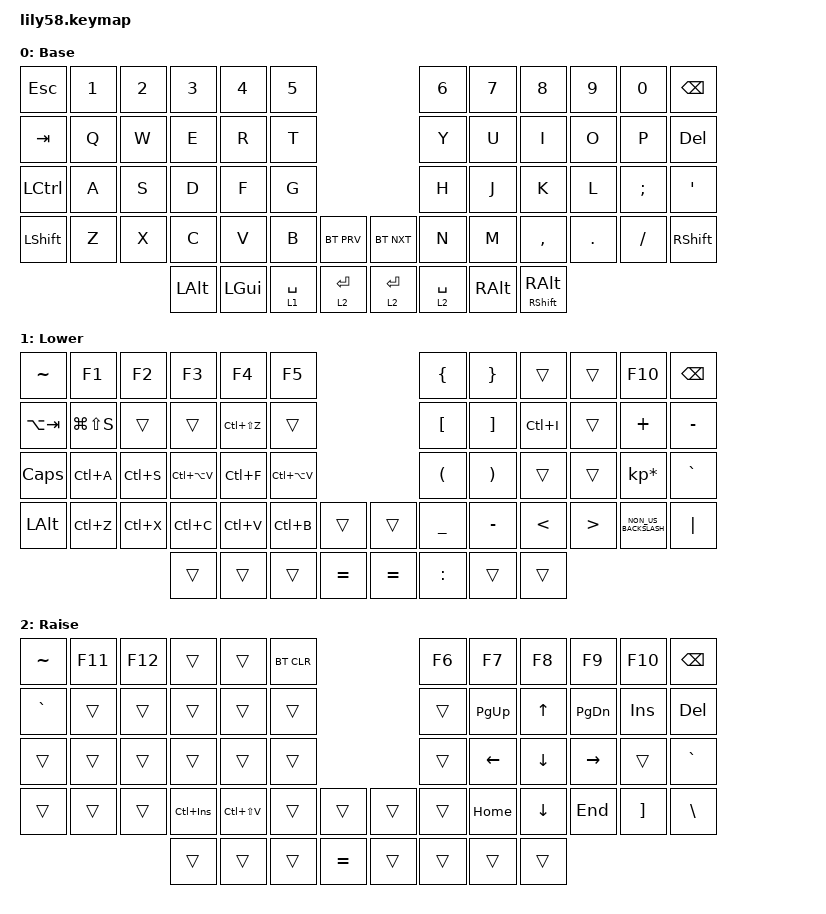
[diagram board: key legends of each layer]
/*
 * Copyright (c) 2020 The ZMK Contributors
 *
 * SPDX-License-Identifier: MIT
 */

#include <behaviors.dtsi>
#include <dt-bindings/zmk/bt.h>
#include <dt-bindings/zmk/keys.h>

/ {
    keymap {
        compatible = "zmk,keymap";

        default_layer {
            // ------------------------------------------------------------------------------------------------------------
            // |  ESC  |  1  |  2  |  3   |  4   |  5   |                   |  6   |  7    |  8    |  9   |   0   |   `   |
            // |  TAB  |  Q  |  W  |  E   |  R   |  T   |                   |  Y   |  U    |  I    |  O   |   P   |   -   |
            // |  CTRL |  A  |  S  |  D   |  F   |  G   |                   |  H   |  J    |  K    |  L   |   ;   |   '   |
            // | SHIFT |  Z  |  X  |  C   |  V   |  B   |   "["  |  |  "]"  |  N   |  M    |  ,    |  .   |   /   | SHIFT |
            //                     | ALT  | GUI  | LOWER|  SPACE |  | ENTER | RAISE| BSPC  | GUI   |

            label = "Base";
            bindings = <
&kp ESC    &kp N1  &kp N2  &kp N3    &kp N4    &kp N5                                   &kp N6       &kp N7    &kp N8           &kp N9   &kp N0    &kp BACKSPACE
&kp TAB    &kp Q   &kp W   &kp E     &kp R     &kp T                                    &kp Y        &kp U     &kp I            &kp O    &kp P     &kp DELETE
&kp LCTRL  &kp A   &kp S   &kp D     &kp F     &kp G                                    &kp H        &kp J     &kp K            &kp L    &kp SEMI  &kp SQT
&kp LSHFT  &kp Z   &kp X   &kp C     &kp V     &kp B        &bt BT_PRV     &bt BT_NXT   &kp N        &kp M     &kp COMMA        &kp DOT  &kp FSLH  &kp RSHFT
                           &kp LALT  &kp LGUI  &lt 1 SPACE  &lt 2 ENTER    &lt 2 ENTER  &lt 2 SPACE  &kp RALT  &mt RSHIFT RALT
            >;
        };

        lower_layer {
            // ------------------------------------------------------------------------------------------------------------
            // | BTCLR | BT1 | BT2 |  BT3 |  BT4 |  BT5 |                   |      |       |       |      |       |       |
            // |  F1   |  F2 |  F3 |  F4  |  F5  |  F6  |                   |  F7  |  F8   |  F9   |  F10 |  F11  |  F12  |
            // |   `   |  !  |  @  |  #   |  $   |  %   |                   |  ^   |  &    |  *    |  (   |   )   |   ~   |
            // |       |     |     |      |      |      |        |  |       |      |  _    |  +    |  {   |   }   |  "|"  |
            //                     |      |      |      |        |  |       |      |       |       |

            label = "Lower";
            bindings = <
&kp TILDE     &kp F1         &kp F2     &kp F3         &kp F4         &kp F5                                 &kp LEFT_BRACE        &kp RIGHT_BRACE        &trans         &trans            &kp F10               &kp BACKSPACE
&kp LA(TAB)   &kp LG(LS(S))  &trans     &trans         &kp LC(LS(Z))  &trans                                 &kp LEFT_BRACKET      &kp RIGHT_BRACKET      &kp LC(I)      &trans            &kp PLUS              &kp MINUS
&kp CAPS      &kp LC(A)      &kp LC(S)  &kp LC(LA(V))  &kp LC(F)      &kp LC(LA(V))                          &kp LEFT_PARENTHESIS  &kp RIGHT_PARENTHESIS  &trans         &trans            &kp KP_MULTIPLY       &kp GRAVE
&kp LEFT_ALT  &kp LC(Z)      &kp LC(X)  &kp LC(C)      &kp LC(V)      &kp LC(B)      &trans       &trans     &kp UNDERSCORE        &kp MINUS              &kp LESS_THAN  &kp GREATER_THAN  &kp NON_US_BACKSLASH  &kp PIPE
                                        &trans         &trans         &trans         &kp EQUAL    &kp EQUAL  &kp COLON             &trans                 &trans
            >;
        };

        raise_layer {
            // ------------------------------------------------------------------------------------------------------------
            // |       |     |     |      |      |      |                   |      |       |       |      |       |       |
            // |   `   |  1  |  2  |  3   |  4   |  5   |                   |  6   |   7   |   8   |  9   |   0   |       |
            // |   F1  |  F2 |  F3 |  F4  |  F5  |  F6  |                   |      |   <-  |   v   |  ^   |  ->   |       |
            // |   F7  |  F8 |  F9 |  F10 |  F11 |  F12 |        |  |       |  +   |   -   |   =   |  [   |   ]   |   \   |
            //                     |      |      |      |        |  |       |      |       |       |

            label = "Raise";
            bindings = <
&kp TILDE  &kp F11  &kp F12  &trans       &trans         &bt BT_CLR                       &kp F6  &kp F7       &kp F8          &kp F9           &kp F10     &kp BACKSPACE
&kp GRAVE  &trans   &trans   &trans       &trans         &trans                           &trans  &kp PAGE_UP  &kp UP_ARROW    &kp PAGE_DOWN    &kp INSERT  &kp DELETE
&trans     &trans   &trans   &trans       &trans         &trans                           &trans  &kp LEFT     &kp DOWN        &kp RIGHT_ARROW  &trans      &kp GRAVE
&trans     &trans   &trans   &kp LC(INS)  &kp LC(LS(V))  &trans      &trans       &trans  &trans  &kp HOME     &kp DOWN_ARROW  &kp END          &kp RBKT    &kp BSLH
                             &trans       &trans         &trans      &kp EQUAL    &trans  &trans  &trans       &trans
            >;
        };
    };
};
